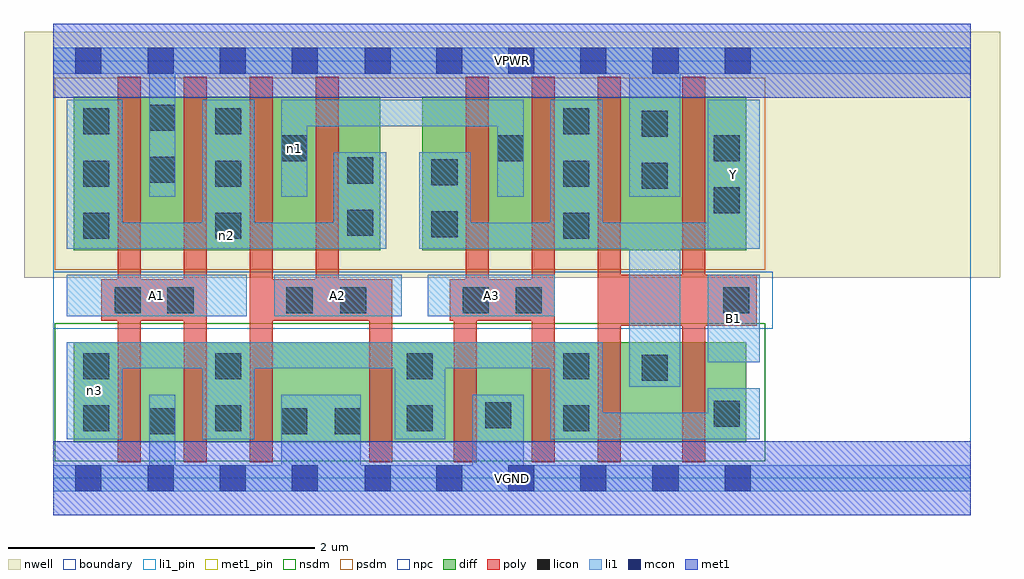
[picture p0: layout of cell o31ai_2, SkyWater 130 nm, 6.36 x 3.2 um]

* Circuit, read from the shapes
.subckt o31ai_2 A1 A2 A3 B1 VGND VPWR Y n1 n2 n3
XM1 VGND A1 n3 VSUBS sky130_fd_pr__nfet_01v8 w=0.65 l=0.15 m=2
XM2 VGND A2 n3 VSUBS sky130_fd_pr__nfet_01v8 w=0.65 l=0.15 m=2
XM3 VGND A3 n3 VSUBS sky130_fd_pr__nfet_01v8 w=0.65 l=0.15 m=2
XM4 Y B1 n3 VSUBS sky130_fd_pr__nfet_01v8 w=0.65 l=0.15 m=2
XM5 VPWR A1 n2 n4 sky130_fd_pr__pfet_01v8 w=1 l=0.15 m=2
XM6 n1 A2 n2 n4 sky130_fd_pr__pfet_01v8 w=1 l=0.15 m=2
XM7 n1 A3 Y n4 sky130_fd_pr__pfet_01v8 w=1 l=0.15 m=2
XM8 VPWR B1 Y n4 sky130_fd_pr__pfet_01v8 w=1 l=0.15 m=2
.ends

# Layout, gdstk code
import gdstk
lib = gdstk.Library(unit=1e-6, precision=1e-09)
def R(c, l, rs):  # rectangles x0, y0, x1, y1
    for r in rs: c.add(gdstk.rectangle(r[:2], r[2:], *l))
def A(c, l, x, y, w, h, nx, ny, dx, dy):  # array of equal rectangles
    R(c, l, [(x+i*dx, y+j*dy, x+i*dx+w, y+j*dy+h) for i in range(nx) for j in range(ny)])
nwell = (64, 20)
diff = (65, 20)
poly = (66, 20)
licon = (66, 44)
li1_pin = (67, 16)
li1 = (67, 20)
mcon = (67, 44)
met1_pin = (68, 16)
met1 = (68, 20)
nsdm = (93, 44)
psdm = (94, 20)
npc = (95, 20)
boundary = (235, 4)

o31ai_2 = lib.new_cell('o31ai_2')
R(o31ai_2, nwell, [(-0.19,1.305,6.17,2.91), (0,1.305,5.98,2.91)])
R(o31ai_2, diff, [(0.135,0.235,4.515,0.885), (0.135,1.485,2.13,2.485), (2.405,1.485,4.515,2.485)])
A(o31ai_2, poly, 0.42, 0.105, 0.15, 2.51, 3, 1, 0.43, 0)
R(o31ai_2, poly, [(2.06,0.105,2.21,1.295), (2.61,0.105,2.76,1.295), (3.12,0.105,3.27,2.615), (3.55,0.105,3.7,2.615), (4.1,0.105,4.25,2.615), (3.55,0.995,4.585,1.325), (0.315,1.025,1,1.295), (1.28,1.025,2.21,1.295), (1.71,1.025,1.86,2.615), (2.585,1.025,3.27,1.295), (2.69,1.025,2.84,2.615)])
A(o31ai_2, licon, 0.195, 1.56, 0.17, 0.17, 1, 3, 0, 0.34)
A(o31ai_2, licon, 1.055, 1.56, 0.17, 0.17, 1, 3, 0, 0.34)
A(o31ai_2, licon, 3.325, 1.56, 0.17, 0.17, 1, 3, 0, 0.34)
A(o31ai_2, licon, 1.485, 2.065, 0.17, 0.17, 3, 1, 1.41, 0)
R(o31ai_2, licon, [(0.625,0.285,0.795,0.455), (1.485,0.285,1.655,0.455), (1.835,0.285,2.005,0.455), (0.195,0.305,0.365,0.475), (1.055,0.305,1.225,0.475), (2.305,0.305,2.475,0.475), (3.325,0.305,3.495,0.475), (2.815,0.325,2.985,0.495), (4.305,0.335,4.475,0.505), (3.835,0.635,4.005,0.805), (0.195,0.645,0.365,0.815), (1.055,0.645,1.225,0.815), (2.305,0.645,2.475,0.815), (3.325,0.645,3.495,0.815), (0.4,1.075,0.57,1.245), (0.745,1.075,0.915,1.245), (1.52,1.075,1.69,1.245), (1.87,1.075,2.04,1.245), (2.67,1.075,2.84,1.245), (3.015,1.075,3.185,1.245), (4.365,1.075,4.535,1.245), (2.465,1.57,2.635,1.74), (1.915,1.58,2.085,1.75), (4.305,1.725,4.475,1.895), (3.835,1.885,4.005,2.055), (2.465,1.91,2.635,2.08), (1.915,1.92,2.085,2.09), (0.625,1.925,0.795,2.095), (3.835,2.225,4.005,2.395), (0.625,2.265,0.795,2.435)])
R(o31ai_2, li1_pin, [(4.265,0.755,4.605,1.325), (0.09,1.055,1.26,1.325), (1.44,1.055,2.27,1.325), (2.44,1.055,3.27,1.325), (4.265,1.495,4.605,2.465)])
R(o31ai_2, li1, [(0,-0.085,5.98,0.085), (0.625,-0.085,0.795,0.545), (1.485,-0.085,2.005,0.545), (2.73,-0.085,3.065,0.545), (0.09,0.255,0.45,0.885), (0.97,0.255,1.31,0.885), (2.225,0.255,2.555,0.885), (3.24,0.255,3.58,0.885), (3.24,0.255,4.605,0.425), (4.265,0.255,4.605,0.585), (3.755,0.595,4.085,1.665), (0.09,0.715,3.58,0.885), (4.265,0.755,4.605,1.325), (0.09,1.055,1.26,1.325), (1.44,1.055,2.27,1.325), (2.44,1.055,3.27,1.325), (0.09,1.495,2.17,1.665), (0.09,1.495,0.45,2.465), (0.97,1.495,1.31,2.465), (1.83,1.495,2.17,2.125), (2.385,1.495,2.72,2.125), (2.385,1.495,4.605,1.665), (3.24,1.495,3.58,2.465), (4.265,1.495,4.605,2.465), (0.625,1.835,0.795,2.805), (1.485,1.835,1.655,2.465), (2.895,1.835,3.065,2.465), (3.755,1.835,4.085,2.805), (1.485,2.295,3.065,2.465), (0,2.635,5.98,2.805)])
A(o31ai_2, mcon, 0.145, -0.085, 0.17, 0.17, 4, 2, 0.47, 2.72)
A(o31ai_2, mcon, 2.495, -0.085, 0.17, 0.17, 5, 2, 0.47, 2.72)
R(o31ai_2, mcon, [(2.03,-0.085,2.2,0.085), (2.03,2.635,2.2,2.805)])
R(o31ai_2, met1_pin, [(0,-0.24,5.98,0.24), (0,2.48,5.98,2.96)])
R(o31ai_2, met1, [(0,-0.24,5.98,0.24), (0,2.48,5.98,2.96)])
R(o31ai_2, nsdm, [(0.01,0.11,4.64,1.01)])
R(o31ai_2, psdm, [(0.01,1.36,4.64,2.61)])
R(o31ai_2, npc, [(0,0.975,4.69,1.345)])
R(o31ai_2, boundary, [(0,0,5.98,2.72)])
o31ai_2.add(gdstk.Label('A1', (0.675,1.19), layer=67, texttype=5))
o31ai_2.add(gdstk.Label('A2', (1.855,1.19), layer=67, texttype=5))
o31ai_2.add(gdstk.Label('A3', (2.855,1.19), layer=67, texttype=5))
o31ai_2.add(gdstk.Label('B1', (4.435,1.04), layer=67, texttype=5))
o31ai_2.add(gdstk.Label('Y', (4.435,1.98), layer=67, texttype=5))
o31ai_2.add(gdstk.Label('n3', (0.27,0.57), layer=67, texttype=5))
o31ai_2.add(gdstk.Label('n2', (1.13,1.58), layer=67, texttype=5))
o31ai_2.add(gdstk.Label('n1', (1.57,2.15), layer=67, texttype=5))
o31ai_2.add(gdstk.Label('VPWR', (2.99,2.72), layer=68, texttype=5))
o31ai_2.add(gdstk.Label('VGND', (2.99,0), layer=68, texttype=5))
o31ai_2.add(gdstk.Label('A1', (0.675,1.19), layer=67, texttype=16))
o31ai_2.add(gdstk.Label('A2', (1.855,1.19), layer=67, texttype=16))
o31ai_2.add(gdstk.Label('A3', (2.855,1.19), layer=67, texttype=16))
o31ai_2.add(gdstk.Label('B1', (4.435,1.04), layer=67, texttype=16))
o31ai_2.add(gdstk.Label('Y', (4.435,1.98), layer=67, texttype=16))
o31ai_2.add(gdstk.Label('VPWR', (2.99,2.72), layer=68, texttype=16))
o31ai_2.add(gdstk.Label('VGND', (2.99,0), layer=68, texttype=16))

lib.write_gds('o31ai_2.gds')
